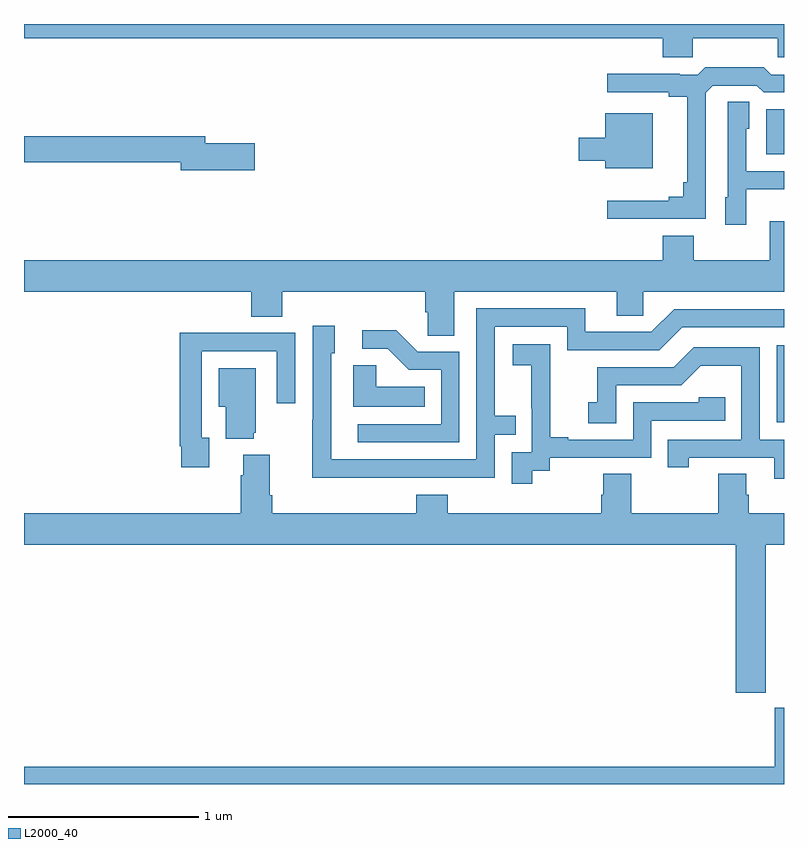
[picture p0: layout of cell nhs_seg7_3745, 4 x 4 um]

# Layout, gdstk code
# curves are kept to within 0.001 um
import gdstk
lib = gdstk.Library(unit=1e-6, precision=1e-09)
def R(c, l, rs):  # rectangles x0, y0, x1, y1
    for r in rs: c.add(gdstk.rectangle(r[:2], r[2:], *l))
def P(c, l, *ps):  # polygons
    for p in ps: c.add(gdstk.Polygon(p, *l))
L2000_40 = (2000, 40)

nhs_seg7_3745 = lib.new_cell('nhs_seg7_3745')
R(nhs_seg7_3745, L2000_40, [(352.962,1023.903,353,1024.309), (352.907,1025.315,353,1025.551)])
P(nhs_seg7_3745, L2000_40, [(352.521,1025.924),(352.966,1025.924),(352.966,1025.826),(353,1025.826),(353,1026),(349,1026),(349,1025.924),(352.361,1025.924),(352.361,1025.826),(352.521,1025.826)],
  [(352.587,1025.637),(352.626,1025.676),(352.857,1025.676),(352.893,1025.64),(353,1025.64),(353,1025.733),(352.932,1025.733),(352.893,1025.773),(352.585,1025.773),(352.545,1025.733),(352.451,1025.733),(352.451,1025.738),(352.071,1025.738),(352.071,1025.64),(352.394,1025.64),(352.394,1025.618),(352.49,1025.618),(352.49,1025.167),(352.471,1025.167),(352.471,1025.09),(352.394,1025.09),(352.394,1025.071),(352.071,1025.071),(352.071,1024.974),(352.587,1024.974)],
  [(352.8,1025.129),(353,1025.129),(353,1025.226),(352.8,1025.226),(352.8,1025.448),(352.816,1025.448),(352.816,1025.591),(352.704,1025.591),(352.704,1025.088),(352.691,1025.088),(352.691,1024.944),(352.8,1024.944)],
  [(352.309,1025.53),(352.058,1025.53),(352.058,1025.401),(351.921,1025.401),(351.921,1025.279),(352.058,1025.279),(352.058,1025.24),(352.309,1025.24)],
  [(350.215,1025.372),(349.954,1025.372),(349.954,1025.408),(349,1025.408),(349,1025.272),(349.826,1025.272),(349.826,1025.23),(350.215,1025.23)],
  [(351.265,1024.592),(352.121,1024.592),(352.121,1024.465),(352.26,1024.465),(352.26,1024.592),(353,1024.592),(353,1024.963),(352.925,1024.963),(352.925,1024.756),(352.525,1024.756),(352.525,1024.885),(352.361,1024.885),(352.361,1024.756),(349,1024.756),(349,1024.592),(350.195,1024.592),(350.195,1024.459),(350.36,1024.459),(350.36,1024.592),(351.113,1024.592),(351.113,1024.483),(351.126,1024.483),(351.126,1024.36),(351.265,1024.36)],
  [(350.981,1023.612),(351.477,1023.612),(351.477,1023.837),(351.587,1023.837),(351.587,1023.938),(351.477,1023.938),(351.477,1024.407),(351.858,1024.407),(351.858,1024.284),(352.344,1024.284),(352.464,1024.404),(353,1024.404),(353,1024.5),(352.422,1024.5),(352.302,1024.38),(351.955,1024.38),(351.955,1024.503),(351.381,1024.503),(351.381,1023.708),(350.616,1023.708),(350.616,1024.266),(350.635,1024.266),(350.635,1024.411),(350.52,1024.411),(350.52,1023.917),(350.518,1023.917),(350.518,1023.611)],
  [(351.291,1024.275),(351.072,1024.275),(350.959,1024.388),(350.781,1024.388),(350.781,1024.29),(350.915,1024.29),(351.026,1024.179),(351.195,1024.179),(351.195,1023.894),(350.757,1023.894),(350.757,1023.798),(351.291,1023.798)],
  [(349.975,1023.822),(349.935,1023.822),(349.935,1024.278),(350.331,1024.278),(350.331,1024.005),(350.427,1024.005),(350.427,1024.374),(350.111,1024.374),(350.111,1024.376),(349.819,1024.376),(349.819,1023.778),(349.827,1023.778),(349.827,1023.666),(349.975,1023.666)],
  [(351.676,1023.649),(351.768,1023.649),(351.768,1023.717),(352.302,1023.717),(352.302,1023.912),(352.691,1023.912),(352.691,1024.035),(352.551,1024.035),(352.551,1024.008),(352.206,1024.008),(352.206,1023.813),(351.865,1023.813),(351.865,1023.826),(351.77,1023.826),(351.77,1024.109),(351.771,1024.109),(351.771,1024.315),(351.573,1024.315),(351.573,1024.205),(351.671,1024.205),(351.671,1023.977),(351.672,1023.977),(351.672,1023.747),(351.567,1023.747),(351.567,1023.579),(351.676,1023.579)],
  [(353,1023.813),(352.872,1023.813),(352.872,1024.299),(352.526,1024.299),(352.421,1024.194),(352.018,1024.194),(352.018,1024.009),(351.969,1024.009),(351.969,1023.9),(352.116,1023.9),(352.116,1024.098),(352.458,1024.098),(352.562,1024.202),(352.776,1024.202),(352.776,1023.813),(352.387,1023.813),(352.387,1023.666),(352.498,1023.666),(352.498,1023.717),(352.949,1023.717),(352.949,1023.606),(353,1023.606)],
  [(351.11,1024.09),(350.853,1024.09),(350.853,1024.205),(350.732,1024.205),(350.732,1023.986),(351.11,1023.986)],
  [(350.21,1023.849),(350.221,1023.849),(350.221,1024.189),(350.024,1024.189),(350.024,1023.986),(350.063,1023.986),(350.063,1023.818),(350.21,1023.818)],
  [(352.905,1023.26),(353,1023.26),(353,1023.424),(352.814,1023.424),(352.814,1023.522),(352.801,1023.522),(352.801,1023.632),(352.654,1023.632),(352.654,1023.424),(352.197,1023.424),(352.197,1023.632),(352.049,1023.632),(352.049,1023.522),(352.037,1023.522),(352.037,1023.424),(351.23,1023.424),(351.23,1023.523),(351.065,1023.523),(351.065,1023.424),(350.306,1023.424),(350.306,1023.52),(350.293,1023.52),(350.293,1023.733),(350.153,1023.733),(350.153,1023.626),(350.141,1023.626),(350.141,1023.424),(349,1023.424),(349,1023.26),(352.745,1023.26),(352.745,1022.481),(352.905,1022.481)],
  [(349,1022),(353,1022),(353,1022.401),(352.952,1022.401),(352.952,1022.092),(349,1022.092)])

lib.write_gds('nhs_seg7_3745.gds')
